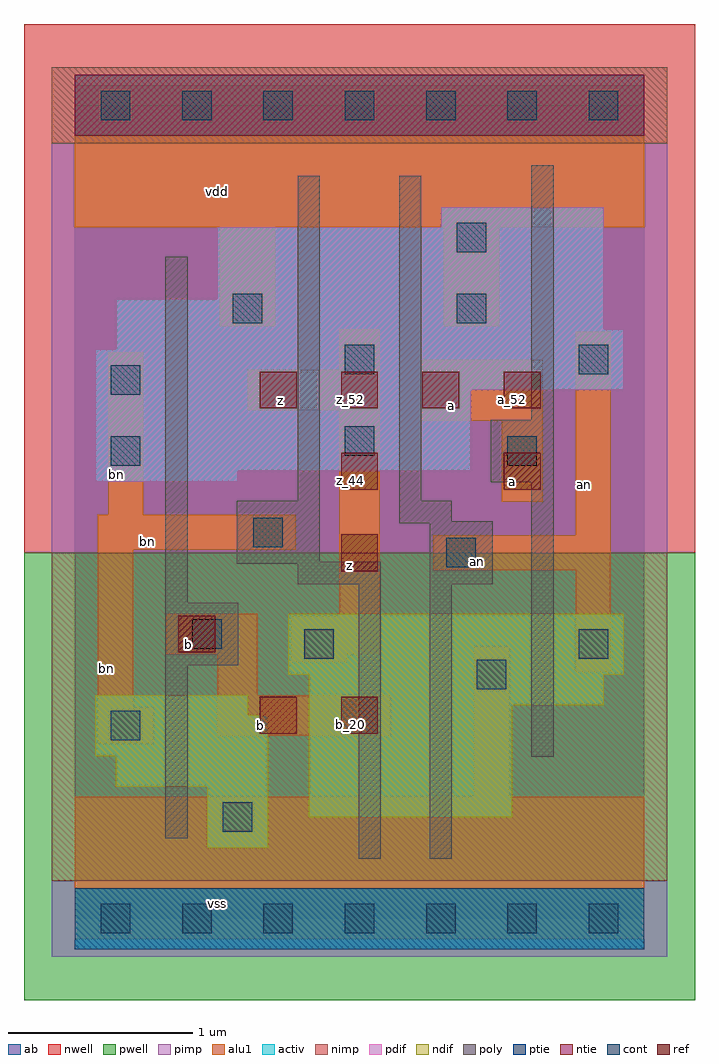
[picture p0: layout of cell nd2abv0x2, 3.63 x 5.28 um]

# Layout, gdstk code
import gdstk
lib = gdstk.Library(unit=1e-6, precision=2.5e-09)
def R(c, l, rs):  # rectangles x0, y0, x1, y1
    for r in rs: c.add(gdstk.rectangle(r[:2], r[2:], *l))
def A(c, l, x, y, w, h, nx, ny, dx, dy):  # array of equal rectangles
    R(c, l, [(x+i*dx, y+j*dy, x+i*dx+w, y+j*dy+h) for i in range(nx) for j in range(ny)])
ndif = (3, 0)
pdif = (4, 0)
ntie = (5, 0)
ptie = (6, 0)
ref = (24, 0)
cont = (25, 0)
pwell = (41, 0)
nwell = (42, 0)
activ = (43, 0)
pimp = (44, 0)
nimp = (45, 0)
poly = (46, 0)
alu1 = (49, 0)
ab = (63, 0)

nd2abv0x2 = lib.new_cell('nd2abv0x2')
R(nd2abv0x2, ndif, [(0.715,0.385,1.045,0.715), (1.265,0.55,2.365,1.155), (0.22,0.715,1.045,0.88), (0.11,0.88,1.045,1.1), (0.11,1.1,0.935,1.21), (1.265,1.155,2.86,1.32), (1.155,1.32,2.97,1.65)])
R(nd2abv0x2, pdif, [(0.11,2.365,0.88,2.42), (0.11,2.42,2.145,2.86), (0.11,2.86,2.97,3.08), (0.22,3.08,2.97,3.19), (0.22,3.19,2.86,3.355), (0.77,3.355,2.86,3.74), (1.98,3.74,2.86,3.85)])
R(nd2abv0x2, ntie, [(0,4.235,3.08,4.565)])
R(nd2abv0x2, ptie, [(0,-0.165,3.08,0.165)])
A(nd2abv0x2, ref, 1, 2.76, 0.2, 0.2, 4, 1, 0.44, 0)
R(nd2abv0x2, ref, [(1,1,1.2,1.2), (1.44,1,1.64,1.2), (0.56,1.44,0.76,1.64), (1.44,1.88,1.64,2.08), (1.44,2.32,1.64,2.52), (2.32,2.32,2.52,2.52)])
A(nd2abv0x2, cont, 0.14, -0.08, 0.16, 0.16, 7, 2, 0.44, 4.4)
R(nd2abv0x2, cont, [(0.8,0.47,0.96,0.63), (0.195,0.965,0.355,1.125), (2.175,1.24,2.335,1.4), (1.24,1.405,1.4,1.565), (2.725,1.405,2.885,1.565), (0.635,1.46,0.795,1.62), (2.01,1.9,2.17,2.06), (0.965,2.01,1.125,2.17), (0.195,2.45,0.355,2.61), (2.34,2.45,2.5,2.61), (1.46,2.505,1.62,2.665), (0.195,2.835,0.355,2.995), (1.46,2.945,1.62,3.105), (2.725,2.945,2.885,3.105), (0.855,3.22,1.015,3.38), (2.065,3.22,2.225,3.38), (2.065,3.605,2.225,3.765)])
R(nd2abv0x2, pwell, [(-0.275,-0.44,3.355,1.98)])
R(nd2abv0x2, nwell, [(-0.275,1.98,3.355,4.84)])
R(nd2abv0x2, activ, [(0,-0.165,3.08,0.165), (0.715,0.385,1.045,0.715), (1.265,0.55,2.365,1.155), (0.22,0.715,1.045,0.88), (0.11,0.88,1.045,1.1), (0.11,1.1,0.935,1.21), (1.265,1.155,2.86,1.32), (1.155,1.32,2.97,1.65), (0.11,2.365,0.88,2.42), (0.11,2.42,2.145,2.86), (0.11,2.86,2.97,3.08), (0.22,3.08,2.97,3.19), (0.22,3.19,2.86,3.355), (0.77,3.355,2.86,3.74), (1.98,3.74,2.86,3.85), (0,4.235,3.08,4.565)])
R(nd2abv0x2, pimp, [(-0.125,-0.205,3.205,0.205), (-0.125,1.98,3.205,4.195)])
R(nd2abv0x2, nimp, [(-0.125,0.205,3.205,1.98), (-0.125,4.195,3.205,4.605)])
R(nd2abv0x2, poly, [(1.535,0.325,1.655,1.81), (1.92,0.325,2.04,1.81), (0.49,0.435,0.61,1.37), (2.47,0.875,2.59,2.36), (0.49,1.37,0.885,1.71), (0.49,1.71,0.61,3.58), (1.205,1.81,1.655,1.92), (1.92,1.81,2.26,2.14), (0.875,1.92,1.655,1.93), (0.875,1.93,1.325,2.26), (1.755,2.14,2.26,2.15), (1.755,2.15,2.04,2.26), (1.205,2.26,1.325,4.02), (1.755,2.26,1.875,4.02), (2.25,2.36,2.59,2.7), (2.47,2.7,2.59,4.075)])
R(nd2abv0x2, alu1, [(0,-0.11,3.08,0.66), (2.16,0.66,2.35,1.47), (0.125,0.95,0.425,1.14), (0.77,0.99,1.705,1.21), (0.125,1.14,0.315,1.995), (0.77,1.21,0.99,1.43), (2.71,1.335,2.9,1.885), (1.17,1.39,1.47,1.43), (0.495,1.43,0.99,1.65), (1.17,1.43,1.65,1.635), (1.43,1.635,1.65,2.75), (1.94,1.885,2.9,2.075), (0.125,1.995,1.195,2.185), (2.71,2.075,2.9,3.175), (0.18,2.185,0.37,3.065), (2.31,2.255,2.53,2.695), (1.87,2.695,2.53,3.025), (0.935,2.75,1.65,2.97), (1.43,2.97,1.65,3.19), (0.785,3.205,1.085,3.74), (1.995,3.205,2.295,3.74), (0,3.74,3.08,4.51)])
R(nd2abv0x2, ab, [(0,0,3.08,4.4)])
nd2abv0x2.add(gdstk.Label('vss', (0.77,0.0825), layer=49, texttype=0))
nd2abv0x2.add(gdstk.Label('b', (1.0025,1.045), layer=49, texttype=0))
nd2abv0x2.add(gdstk.Label('an', (2.18,1.9325), layer=49, texttype=0))
nd2abv0x2.add(gdstk.Label('an', (2.7575,2.35), layer=49, texttype=0))
nd2abv0x2.add(gdstk.Label('a', (2.365,2.365), layer=49, texttype=0))
nd2abv0x2.add(gdstk.Label('a', (2.035,2.7775), layer=49, texttype=0))
nd2abv0x2.add(gdstk.Label('z', (1.485,1.9125), layer=49, texttype=0))
nd2abv0x2.add(gdstk.Label('b', (0.6175,1.485), layer=49, texttype=0))
nd2abv0x2.add(gdstk.Label('bn', (0.1725,1.3525), layer=49, texttype=0))
nd2abv0x2.add(gdstk.Label('bn', (0.3925,2.0425), layer=49, texttype=0))
nd2abv0x2.add(gdstk.Label('z', (1.1125,2.805), layer=49, texttype=0))
nd2abv0x2.add(gdstk.Label('bn', (0.2275,2.405), layer=49, texttype=0))
nd2abv0x2.add(gdstk.Label('vdd', (0.77,3.9325), layer=49, texttype=0))
nd2abv0x2.add(gdstk.Label('b_28', (0.61,1.49), layer=24, texttype=0))
nd2abv0x2.add(gdstk.Label('b_20', (1.05,1.05), layer=24, texttype=0))
nd2abv0x2.add(gdstk.Label('z_52', (1.05,2.81), layer=24, texttype=0))
nd2abv0x2.add(gdstk.Label('b_20', (1.49,1.05), layer=24, texttype=0))
nd2abv0x2.add(gdstk.Label('z_36', (1.49,1.93), layer=24, texttype=0))
nd2abv0x2.add(gdstk.Label('z_44', (1.49,2.37), layer=24, texttype=0))
nd2abv0x2.add(gdstk.Label('z_52', (1.49,2.81), layer=24, texttype=0))
nd2abv0x2.add(gdstk.Label('a_52', (1.93,2.81), layer=24, texttype=0))
nd2abv0x2.add(gdstk.Label('a_44', (2.37,2.37), layer=24, texttype=0))
nd2abv0x2.add(gdstk.Label('a_52', (2.37,2.81), layer=24, texttype=0))

lib.write_gds('nd2abv0x2.gds')
